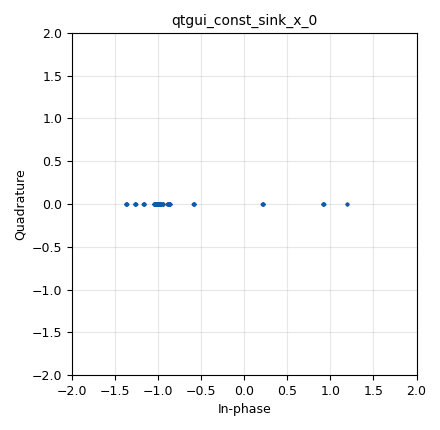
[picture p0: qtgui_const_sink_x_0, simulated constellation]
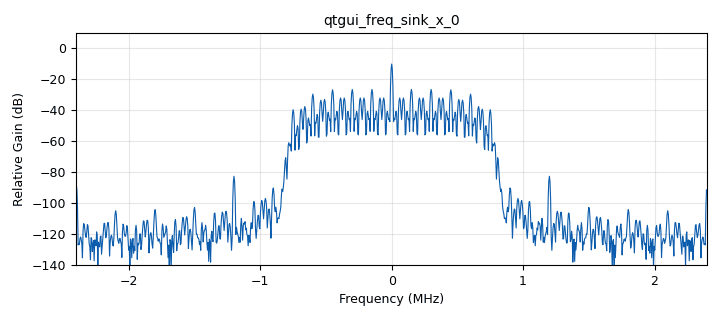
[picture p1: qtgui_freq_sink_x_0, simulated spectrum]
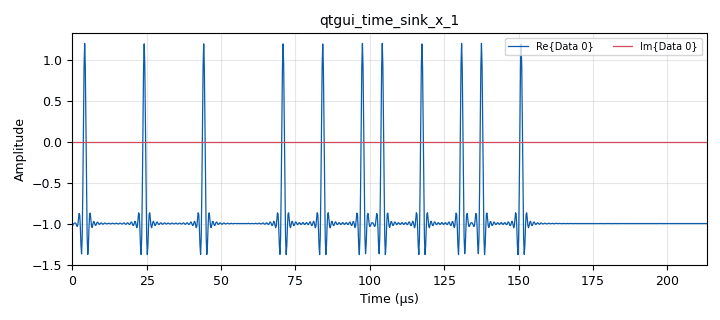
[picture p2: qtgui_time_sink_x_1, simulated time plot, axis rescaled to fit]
options:
  parameters:
    category: Custom
    generate_options: qt_gui
    id: bpsk_tx
    output_language: python
  states: {}

blocks:
- name: arity
  id: variable
  parameters:
    value: '2'
  states: {}
- name: bpsk
  id: variable_constellation_rect
  parameters:
    const_points: '[-1,1]'
    imag_sect: '2'
    real_sect: '2'
    rot_sym: '4'
    sym_map: '[0, 1]'
    w_imag_sect: '1'
    w_real_sect: '1'
  states: {}
- name: bytes_per_chunk
  id: variable
  parameters:
    value: '8'
  states: {}
- name: excess_bw
  id: variable
  parameters:
    value: '0.35'
  states: {}
- name: hdr_format
  id: variable
  parameters:
    comment: header_format_crc
    value: digital.header_format_crc(len_key, num_key)
  states: {}
- name: len_key
  id: variable
  parameters:
    value: '"packet_len"'
  states: {}
- name: num_key
  id: variable
  parameters:
    value: '"packet_num"'
  states: {}
- name: rf_freq
  id: variable
  parameters:
    value: 2480e6
  states: {}
- name: rf_gain
  id: variable_qtgui_range
  parameters:
    label: RF Gain
    start: '0'
    step: '1'
    stop: '100'
    value: '50'
  states: {}
- name: rf_samp_rate
  id: variable
  parameters:
    value: samp_rate * bytes_per_chunk * sps
  states: {}
- name: samp_rate
  id: variable
  parameters:
    value: 150e3
  states: {}
- name: sps
  id: variable
  parameters:
    value: '4'
  states: {}
- name: analog_random_source_x_0
  id: analog_random_source_x
  parameters:
    max: '256'
    min: '0'
    num_samps: '1000'
    repeat: 'True'
    type: byte
  states: {state: disabled}
- name: bladeRF_sink_0
  id: bladeRF_sink
  parameters:
    bias_tee0: 'False'
    bias_tee1: 'False'
    bw: rf_samp_rate
    dac: '10000'
    dc_calibration: LPF_TUNING
    device_id: '0'
    fpga_image: ''
    fpga_reload: 'False'
    freq: rf_freq
    gain0: rf_gain
    gain1: '10'
    if_gain0: '20'
    if_gain1: '20'
    in_clk: ONBOARD
    lpf_mode: disabled
    metadata: 'False'
    nchan: '1'
    out_clk: 'False'
    ref_clk: 10e6
    sample_rate: rf_samp_rate
    sampling: internal
    show_pmic: 'False'
    smb: '0'
    tamer: internal
    trigger0: 'False'
    trigger1: 'False'
    trigger_role0: master
    trigger_role1: master
    trigger_signal0: J51_1
    trigger_signal1: J51_1
    use_dac: 'False'
    use_ref_clk: 'False'
    verbosity: debug
    xb200: none
  states: {}
- name: blocks_multiply_const_vxx_0
  id: blocks_multiply_const_vxx
  parameters:
    const: '.25'
    type: complex
  states: {}
- name: blocks_repack_bits_bb_1
  id: blocks_repack_bits_bb
  parameters:
    endianness: gr.GR_MSB_FIRST
    k: '8'
    l: '1'
    len_tag_key: '"packet_len"'
  states: {}
- name: blocks_stream_to_tagged_stream_0
  id: blocks_stream_to_tagged_stream
  parameters:
    len_tag_key: '"packet_len"'
    packet_len: '252'
    type: byte
  states: {}
- name: blocks_tagged_stream_mux_0
  id: blocks_tagged_stream_mux
  parameters:
    lengthtagname: packet_len
    ninputs: '2'
    type: byte
  states: {}
- name: blocks_vector_source_x_0
  id: blocks_vector_source_x
  parameters:
    repeat: 'True'
    type: byte
    vector: '[0x55, 0x01,0xfe]'
  states: {}
- name: digital_constellation_modulator_0
  id: digital_constellation_modulator
  parameters:
    constellation: bpsk
    differential: 'False'
    excess_bw: excess_bw
    samples_per_symbol: sps
  states: {}
- name: digital_crc32_bb_0
  id: digital_crc32_bb
  parameters:
    check: 'False'
    lengthtagname: '"packet_len"'
    packed: 'True'
  states: {}
- name: digital_protocol_formatter_bb_0
  id: digital_protocol_formatter_bb
  parameters:
    format: hdr_format
    len_tag_key: '"packet_len"'
  states: {}
- name: header_bits
  id: virtual_sink
  parameters:
    stream_id: Header Bytes
  states: {}
- name: qtgui_const_sink_x_0
  id: qtgui_const_sink_x
  parameters:
    size: '1024'
    type: complex
  states: {}
- name: qtgui_freq_sink_x_0
  id: qtgui_freq_sink_x
  parameters:
    bw: rf_samp_rate
    fc: '0'
    fftsize: '1024'
    type: complex
  states: {}
- name: qtgui_time_sink_x_1
  id: qtgui_time_sink_x
  parameters:
    size: '1024'
    srate: rf_samp_rate
    type: complex
  states: {}
- name: virtual_sink_0_0
  id: virtual_sink
  parameters:
    stream_id: Payload Bytes
  states: {}
- name: virtual_sink_1
  id: virtual_sink
  parameters:
    stream_id: pkt_out
  states: {}
- name: virtual_source_0
  id: virtual_source
  parameters:
    stream_id: Header Bytes
  states: {}
- name: virtual_source_0_0
  id: virtual_source
  parameters:
    stream_id: Payload Bytes
  states: {}
- name: virtual_source_1
  id: virtual_source
  parameters:
    stream_id: pkt_out
  states: {}

connections:
- [analog_random_source_x_0, '0', blocks_stream_to_tagged_stream_0, '0']
- [blocks_multiply_const_vxx_0, '0', bladeRF_sink_0, '0']
- [blocks_repack_bits_bb_1, '0', virtual_sink_1, '0']
- [blocks_stream_to_tagged_stream_0, '0', digital_crc32_bb_0, '0']
- [blocks_tagged_stream_mux_0, '0', blocks_repack_bits_bb_1, '0']
- [blocks_vector_source_x_0, '0', blocks_stream_to_tagged_stream_0, '0']
- [digital_constellation_modulator_0, '0', blocks_multiply_const_vxx_0, '0']
- [digital_constellation_modulator_0, '0', qtgui_const_sink_x_0, '0']
- [digital_constellation_modulator_0, '0', qtgui_freq_sink_x_0, '0']
- [digital_constellation_modulator_0, '0', qtgui_time_sink_x_1, '0']
- [digital_crc32_bb_0, '0', digital_protocol_formatter_bb_0, '0']
- [digital_crc32_bb_0, '0', virtual_sink_0_0, '0']
- [digital_protocol_formatter_bb_0, '0', header_bits, '0']
- [virtual_source_0, '0', blocks_tagged_stream_mux_0, '0']
- [virtual_source_0_0, '0', blocks_tagged_stream_mux_0, '1']
- [virtual_source_1, '0', digital_constellation_modulator_0, '0']

metadata:
  file_format: 1
  grc_version: 3.10.5.1
